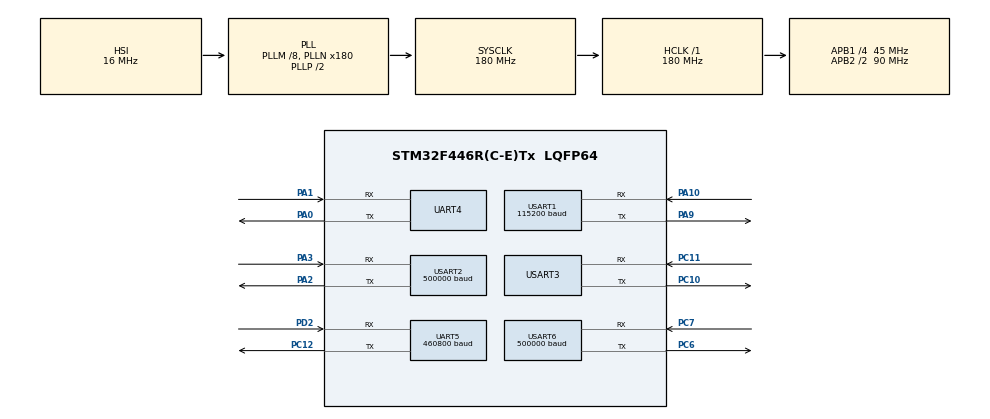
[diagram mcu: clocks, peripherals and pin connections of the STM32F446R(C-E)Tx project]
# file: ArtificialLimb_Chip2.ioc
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Dma.Request0=UART4_RX
Dma.Request1=UART5_RX
Dma.Request2=USART1_RX
Dma.Request3=USART2_TX
Dma.Request4=USART3_RX
Dma.Request5=USART6_RX
Dma.UART4_RX.0.Direction=DMA_PERIPH_TO_MEMORY
Dma.UART4_RX.0.FIFOMode=DMA_FIFOMODE_DISABLE
Dma.UART4_RX.0.Instance=DMA1_Stream2
Dma.UART4_RX.0.MemDataAlignment=DMA_MDATAALIGN_BYTE
Dma.UART4_RX.0.MemInc=DMA_MINC_ENABLE
Dma.UART4_RX.0.Mode=DMA_NORMAL
Dma.UART4_RX.0.PeriphDataAlignment=DMA_PDATAALIGN_BYTE
Dma.UART4_RX.0.PeriphInc=DMA_PINC_DISABLE
Dma.UART4_RX.0.Priority=DMA_PRIORITY_HIGH
Dma.UART5_RX.1.Direction=DMA_PERIPH_TO_MEMORY
Dma.UART5_RX.1.FIFOMode=DMA_FIFOMODE_DISABLE
Dma.UART5_RX.1.Instance=DMA1_Stream0
Dma.UART5_RX.1.MemDataAlignment=DMA_MDATAALIGN_BYTE
Dma.UART5_RX.1.MemInc=DMA_MINC_ENABLE
Dma.UART5_RX.1.Mode=DMA_NORMAL
Dma.UART5_RX.1.PeriphDataAlignment=DMA_PDATAALIGN_BYTE
Dma.UART5_RX.1.PeriphInc=DMA_PINC_DISABLE
Dma.UART5_RX.1.Priority=DMA_PRIORITY_HIGH
Dma.USART1_RX.2.Direction=DMA_PERIPH_TO_MEMORY
Dma.USART1_RX.2.FIFOMode=DMA_FIFOMODE_DISABLE
Dma.USART1_RX.2.Instance=DMA2_Stream2
Dma.USART1_RX.2.MemDataAlignment=DMA_MDATAALIGN_BYTE
Dma.USART1_RX.2.MemInc=DMA_MINC_ENABLE
Dma.USART1_RX.2.Mode=DMA_NORMAL
Dma.USART1_RX.2.PeriphDataAlignment=DMA_PDATAALIGN_BYTE
Dma.USART1_RX.2.PeriphInc=DMA_PINC_DISABLE
Dma.USART1_RX.2.Priority=DMA_PRIORITY_HIGH
Dma.USART2_TX.3.Direction=DMA_MEMORY_TO_PERIPH
Dma.USART2_TX.3.FIFOMode=DMA_FIFOMODE_DISABLE
Dma.USART2_TX.3.Instance=DMA1_Stream6
Dma.USART2_TX.3.MemDataAlignment=DMA_MDATAALIGN_BYTE
Dma.USART2_TX.3.MemInc=DMA_MINC_ENABLE
Dma.USART2_TX.3.Mode=DMA_NORMAL
Dma.USART2_TX.3.PeriphDataAlignment=DMA_PDATAALIGN_BYTE
Dma.USART2_TX.3.PeriphInc=DMA_PINC_DISABLE
Dma.USART2_TX.3.Priority=DMA_PRIORITY_HIGH
Dma.USART3_RX.4.Direction=DMA_PERIPH_TO_MEMORY
Dma.USART3_RX.4.FIFOMode=DMA_FIFOMODE_DISABLE
Dma.USART3_RX.4.Instance=DMA1_Stream1
Dma.USART3_RX.4.MemDataAlignment=DMA_MDATAALIGN_BYTE
Dma.USART3_RX.4.MemInc=DMA_MINC_ENABLE
Dma.USART3_RX.4.Mode=DMA_NORMAL
Dma.USART3_RX.4.PeriphDataAlignment=DMA_PDATAALIGN_BYTE
Dma.USART3_RX.4.PeriphInc=DMA_PINC_DISABLE
Dma.USART3_RX.4.Priority=DMA_PRIORITY_HIGH
Dma.USART6_RX.5.Direction=DMA_PERIPH_TO_MEMORY
Dma.USART6_RX.5.FIFOMode=DMA_FIFOMODE_DISABLE
Dma.USART6_RX.5.Instance=DMA2_Stream1
Dma.USART6_RX.5.MemDataAlignment=DMA_MDATAALIGN_BYTE
Dma.USART6_RX.5.MemInc=DMA_MINC_ENABLE
Dma.USART6_RX.5.Mode=DMA_NORMAL
Dma.USART6_RX.5.PeriphDataAlignment=DMA_PDATAALIGN_BYTE
Dma.USART6_RX.5.PeriphInc=DMA_PINC_DISABLE
Dma.USART6_RX.5.Priority=DMA_PRIORITY_HIGH
Mcu.Family=STM32F4
Mcu.Name=STM32F446R(C-E)Tx
Mcu.Package=LQFP64
NVIC.DMA1_Stream0_IRQn=true\:1\:0\:true\:false\:true\:false\:true\:true
NVIC.DMA1_Stream1_IRQn=true\:1\:0\:true\:false\:true\:false\:true\:true
NVIC.DMA1_Stream2_IRQn=true\:1\:0\:true\:false\:true\:false\:true\:true
NVIC.DMA1_Stream6_IRQn=true\:0\:0\:false\:false\:true\:false\:true\:true
NVIC.DMA2_Stream1_IRQn=true\:1\:0\:true\:false\:true\:false\:true\:true
NVIC.DMA2_Stream2_IRQn=true\:1\:0\:true\:false\:true\:false\:true\:true
NVIC.PriorityGroup=NVIC_PRIORITYGROUP_4
NVIC.UART4_IRQn=true\:2\:0\:true\:false\:true\:true\:true\:true
NVIC.UART5_IRQn=true\:2\:0\:true\:false\:true\:true\:true\:true
NVIC.USART1_IRQn=true\:2\:0\:true\:false\:true\:true\:true\:true
NVIC.USART2_IRQn=true\:0\:0\:false\:false\:true\:true\:true\:true
NVIC.USART3_IRQn=true\:2\:0\:true\:false\:true\:true\:true\:true
NVIC.USART6_IRQn=true\:2\:0\:true\:false\:true\:true\:true\:true
PA0-WKUP.Mode=Asynchronous
PA0-WKUP.Signal=UART4_TX
PA1.Mode=Asynchronous
PA1.Signal=UART4_RX
PA10.Mode=Asynchronous
PA10.Signal=USART1_RX
PA13.Mode=Serial_Wire
PA13.Signal=SYS_JTMS-SWDIO
PA14.Mode=Serial_Wire
PA14.Signal=SYS_JTCK-SWCLK
PA2.Mode=Asynchronous
PA2.Signal=USART2_TX
PA3.Mode=Asynchronous
PA3.Signal=USART2_RX
PA9.Mode=Asynchronous
PA9.Signal=USART1_TX
PC10.Mode=Asynchronous
PC10.Signal=USART3_TX
PC11.Mode=Asynchronous
PC11.Signal=USART3_RX
PC12.Mode=Asynchronous
PC12.Signal=UART5_TX
PC6.Mode=Asynchronous
PC6.Signal=USART6_TX
PC7.Mode=Asynchronous
PC7.Signal=USART6_RX
PD2.Mode=Asynchronous
PD2.Signal=UART5_RX
PH0-OSC_IN.Mode=HSE-External-Clock-Source
PH0-OSC_IN.Signal=RCC_OSC_IN
PH1-OSC_OUT.Mode=HSE-External-Clock-Source
PH1-OSC_OUT.Signal=RCC_OSC_OUT
ProjectManager.HeapSize=0x200
ProjectManager.StackSize=0x400
ProjectManager.TargetToolchain=STM32CubeIDE
RCC.AHBFreq_Value=180000000
RCC.APB1CLKDivider=RCC_HCLK_DIV4
RCC.APB1Freq_Value=45000000
RCC.APB1TimFreq_Value=90000000
RCC.APB2CLKDivider=RCC_HCLK_DIV2
RCC.APB2Freq_Value=90000000
RCC.APB2TimFreq_Value=180000000
RCC.CortexFreq_Value=180000000
RCC.HCLKFreq_Value=180000000
RCC.PLLM=8
RCC.PLLN=180
RCC.SYSCLKFreq_VALUE=180000000
RCC.SYSCLKSource=RCC_SYSCLKSOURCE_PLLCLK
RCC.USBFreq_Value=180000000
RCC.VCOOutputFreq_Value=360000000
UART4.VirtualMode=Asynchronous
UART5.BaudRate=460800
UART5.VirtualMode=Asynchronous
USART1.BaudRate=115200
USART1.VirtualMode=VM_ASYNC
USART2.BaudRate=500000
USART2.VirtualMode=VM_ASYNC
USART3.VirtualMode=VM_ASYNC
USART6.BaudRate=500000
USART6.VirtualMode=VM_ASYNC
board=custom

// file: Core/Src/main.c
/* USER CODE BEGIN Header */

/********************************修改说明**************************************
*修改日期:20230620	编写基本(详解见初代码)功能
*修改日期:20230621	编写发送功能与指令中断
*修改日期:20230721	足底压力接收
*修改日期:20230726	原串口中断和数据输出修改DMA版本，以减小芯片负担，原程序代码也进行了保留
*修改日期:20231015	增加距离传感器读取函数与逻辑的判断发送（未测试-已测20231016）
*修改日期:20231016	距离传感器测试，修改部分错误代码，存在问题：暂时解码错误（待解决）
*修改日期:20231223	增加拟合代码
*******************************************************************************/

/*
//                            _ooOoo_
//                           o8888888o
//                           88" . "88
//                           (| -_- |)
//                            O\ = /O
//                        ____/`---'\____
//                      .   ' \\| |// `.
//                       / \\||| : |||// \
//                     / _||||| -:- |||||- \
//                       | | \\\ - /// | |
//                     | \_| ''\---/'' | |	|
//                      \ .-\__ `-` ___/-. /
//                   ___`. .' /--.--\ `. . __
//                ."" '< `.___\_<|>_/___.' >'"".
//               | | : `- \`.;`\ _ /`;.`/ - ` : | |
//                 \ \ `-. \_ __\ /__ _/ .-` / /
//         ======`-.____`-.___\_____/___.-`____.-'======
//                            `=---='
//
//         .............................................
//                  佛祖保佑   芯片不烧   永无BUG
//          佛曰:
//                  写字楼里写字间，写字间里程序员；
//                  程序人员写程序，又拿程序换酒钱。
//                  酒醒只在网上坐，酒醉还来网下眠；
//                  酒醉酒醒日复日，网上网下年复年。
//                  但愿老死电脑间，不愿鞠躬老板前；
//                  奔驰宝马贵者趣，公交自行程序员。
//                  别人笑我忒疯癫，我笑自己命太贱；
//                  不见满街漂亮妹，哪个归得程序员？
*/

/**
  ******************************************************************************
  * @file           : main.c
  * @brief          : Main program body
  ******************************************************************************
  * @attention
  *
  * Copyright (c) 2023 STMicroelectronics.
  * All rights reserved.
  *
  * This software is licensed under terms that can be found in the LICENSE file
  * in the root directory of this software component.
  * If no LICENSE file comes with this software, it is provided AS-IS.
  *
  ******************************************************************************
  */
/* USER CODE END Header */
#include "main.h"
#include "dma.h"
#include "usart.h"
#include "gpio.h"

/* USER CODE BEGIN Includes */
#include <stdio.h>
#include <stdlib.h>
#include <stdarg.h>
#include "math.h"
#include "stm32f4xx_it.h"
/* USER CODE END Includes */

/* USER CODE BEGIN PTD */

/********************************参数声明**************************************
*参数用途:	MPU6050关节角度等信息
*修改日期:	20230620
*******************************************************************************/
struct joint Left = {
		.Hip.AngxZero = 0, //左关节数据组
		.Knee.AngxZero = 0,
		.Ankle.AngxZero = 0,
		.Hip.AngxCal = 0,
		.Knee.AngxCal = 0,
		.Ankle.AngxCal = 0,
};
struct DataUnionBuf DataLeftBufAng; //左关节数据组共同体缓存
struct DataUnionBuf DataLeftBufFoot = {
		.Point = {3,4,7,8,9,12,13,14},
};

/********************************参数声明**************************************
*参数用途:	中断数据缓存
*修改日期:	20230620
*******************************************************************************/
struct cRxBuf{
	uint8_t cRx_1;
	uint8_t cRx_2;
	uint8_t cRx_3;
	uint8_t cRx_4;
	uint8_t cRx_5;
	uint8_t cRx_6;
	uint8_t rxBuf_2[256];
	uint32_t rxBufCursor_2;
};
struct cRxBuf cRx;

/********************************参数声明**************************************
*参数用途:	主函数运行模式
*修改日期:	20230527
*******************************************************************************/
int Mode = 0;
int ModeFlag = 0;
int ModePrint = 1;
int FlagSend = 0;

/********************************参数声明**************************************
*参数用途:	拟合数据参数
*修改日期:	20230531
*******************************************************************************/
struct DataFit Normal = {
		.ploy_n = 5,
//		.ploy_n = 4,
		.Fit_Mode = 4,
		.sizenum = 0,
		.State = 0,
		.FitStart = 2,
		.Flag_Div = 0,
		.Flag_Fit = 0,
		.Flag_Send = 0,
};
//int sizenum;
//int dimension = 5;

/********************************参数声明**************************************
*参数用途:	距离传感器数据
*修改日期:	20231012
*******************************************************************************/
struct ModBus{
	uint8_t ModbusData[7];
	int ModbusCounter;
	uint16_t ModbusDataDEC;
	int ModbusFlag;
};
struct ModBus Modbus = {
	.ModbusCounter = 0,
	.ModbusFlag = 0.
};

///********************************参数声明**************************************
//*参数用途:	滤波器参数
//*修改日期:	20231129
//*******************************************************************************/
//float fc = 5.0f;     		//截止频率
//float Ts = 0.01f;    		//采样周期
//static float pi = 3.14159f; //π
//float alpha = 0;    		//滤波系数

/* USER CODE END PTD */

void SystemClock_Config(void);

int main(void)
{

  /* MCU Configuration--------------------------------------------------------*/

  /* Reset of all peripherals, Initializes the Flash interface and the Systick. */
  HAL_Init();

  /* USER CODE BEGIN Init */
  DataLeftBufAng.HexBufSumAng[0] = 0x62;
  DataLeftBufAng.HexBufSumAng[13] = 0x63;
  DataLeftBufAng.HexBufSumFoot[0] = 0x64;
  DataLeftBufAng.HexBufSumFoot[33] = 0x65;
  DataLeftBufAng.HexBufDis[0] = 0x66;
  DataLeftBufAng.HexBufDis[1] = 0x01;
  DataLeftBufAng.HexBufDis[2] = 0x67;
  /* USER CODE END Init */

  /* Configure the system clock */
  SystemClock_Config();

  /* Initialize all configured peripherals */
  MX_GPIO_Init();
  MX_DMA_Init();
  MX_UART4_Init();
  MX_UART5_Init();
  MX_USART1_UART_Init();
  MX_USART3_UART_Init();
  MX_USART2_UART_Init();
  MX_USART6_UART_Init();
  /* USER CODE BEGIN 2 */
  setvbuf(stdout, NULL, _IONBF, 0); //输出缓冲

	if(HAL_UART_Receive_IT(&huart1, &cRx.cRx_1, 1) != HAL_OK)
	{
		__HAL_UART_ENABLE_IT(&huart1, UART_IT_ERR);
		Error_Handler();
		//printf("[info]Error_huart1_IT\r\n");
	}

	if(HAL_UART_Receive_IT(&huart2, &cRx.cRx_2, 1) != HAL_OK)
	{
		__HAL_UART_ENABLE_IT(&huart2, UART_IT_ERR);
		Error_Handler();
		//printf("[info]Error_huart2_IT\r\n");
	}
//	if(HAL_UART_Receive_IT(&huart3, &cRx.cRx_3, 1) != HAL_OK)
//	{
//		__HAL_UART_ENABLE_IT(&huart3, UART_IT_ERR);
//		Error_Handler();
//		//printf("[info]Error_huart3_IT\r\n");
//	}
//	if(HAL_UART_Receive_IT(&huart4, &cRx.cRx_4, 1) != HAL_OK)
//	{
//		__HAL_UART_ENABLE_IT(&huart4, UART_IT_ERR);
//		Error_Handler();
//		//printf("[info]Error_huart4_IT\r\n");
//	}
//	if(HAL_UART_Receive_IT(&huart5, &cRx.cRx_5, 1) != HAL_OK)
//	{
//		__HAL_UART_ENABLE_IT(&huart5, UART_IT_ERR);
//		Error_Handler();
//		//printf("[info]Error_huart5_IT\r\n");
//	}
	if(HAL_UART_Receive_IT(&huart6, &cRx.cRx_6, 1) != HAL_OK)
	{
		__HAL_UART_ENABLE_IT(&huart6, UART_IT_ERR);
		Error_Handler();
		//printf("[info]Error_huart5_IT\r\n");
	}

//	// 开启串口1空闲中断
//	__HAL_UART_ENABLE_IT(&huart1, UART_IT_IDLE);
////	// 开启DMA发送通道的发送完成中断，才能实现封装发送函数里面的等待功能
////	__HAL_DMA_ENABLE_IT(&hdma_usart2_tx, DMA_IT_TC);
//	// 清除空闲标志位，防止中断误入
//	__HAL_UART_CLEAR_IDLEFLAG(&huart1);
//	// 立即就要打开DMA接收
//	// 不然DMA没有提前准备，第一次接收的数据是读取不出来的
//	HAL_UART_Receive_DMA(&huart1, p_IsToReceive1, MAX_RX_LEN);

	// 开启串口3空闲中断
	__HAL_UART_ENABLE_IT(&huart3, UART_IT_IDLE);
//	__HAL_DMA_ENABLE_IT(&hdma_usart2_tx, DMA_IT_TC);
	__HAL_UART_CLEAR_IDLEFLAG(&huart3);
	HAL_UART_Receive_DMA(&huart3, p_IsToReceive3, MAX_RX_LEN);

	// 开启串口4空闲中断
	__HAL_UART_ENABLE_IT(&huart4, UART_IT_IDLE);
//	__HAL_DMA_ENABLE_IT(&hdma_usart2_tx, DMA_IT_TC);
	__HAL_UART_CLEAR_IDLEFLAG(&huart4);
	HAL_UART_Receive_DMA(&huart4, p_IsToReceive4, MAX_RX_LEN);

	// 开启串口5空闲中断
	__HAL_UART_ENABLE_IT(&huart5, UART_IT_IDLE);
//	__HAL_DMA_ENABLE_IT(&hdma_usart2_tx, DMA_IT_TC);
	__HAL_UART_CLEAR_IDLEFLAG(&huart5);
	HAL_UART_Receive_DMA(&huart5, p_IsToReceive5, MAX_RX_LEN);

//	// 开启串口6空闲中断
//	__HAL_UART_ENABLE_IT(&huart6, UART_IT_IDLE);
////	__HAL_DMA_ENABLE_IT(&hdma_usart2_tx, DMA_IT_TC);
//	__HAL_UART_CLEAR_IDLEFLAG(&huart6);
//	HAL_UART_Receive_DMA(&huart6, p_IsToReceive6, MAX_RX_LEN);

	low_pass_filter_init();
  /* USER CODE END 2 */

  /* Infinite loop */
  /* USER CODE BEGIN WHILE */
  while (1)
  {
		if(Mode == 1)
		{
			if(ModeFlag == 1 && FlagSend == 1){
				for(int i=0;i<3;i++)
				{
					switch(i)
					{
					case 0:
						DataLeftBufAng.DataUnionBufSend.FloatBuf = Left.Hip.AngxCal;
						for(int j=0;j<4;j++)
						{
							DataLeftBufAng.HexBufSumAng[4*i+j+1] = DataLeftBufAng.DataUnionBufSend.HexBuf[j];
						}
						break;
					case 1:
						DataLeftBufAng.DataUnionBufSend.FloatBuf = Left.Knee.AngxCal;
						for(int j=0;j<4;j++)
						{
							DataLeftBufAng.HexBufSumAng[4*i+j+1] = DataLeftBufAng.DataUnionBufSend.HexBuf[j];
						}
						break;
					case 2:
						DataLeftBufAng.DataUnionBufSend.FloatBuf = Left.Ankle.AngxCal;
						for(int j=0;j<4;j++)
						{
							DataLeftBufAng.HexBufSumAng[4*i+j+1] = DataLeftBufAng.DataUnionBufSend.HexBuf[j];
						}
						break;
					default:
						break;
					}
				}
				for(int i=0;i<8;i++)
				{
					DataLeftBufFoot.DataUnionBufSend.FloatBuf = DataLeftBufFoot.Data[DataLeftBufFoot.Point[i]];
					for(int j=0;j<4;j++)
					{
						DataLeftBufFoot.HexBufSumFoot[4*i+j+1] = DataLeftBufFoot.DataUnionBufSend.HexBuf[j];
					}
				}

				DMA_USART2_Tx_Data(DataLeftBufAng.HexBufSumAng,14);

				DMA_USART2_Tx_Data(DataLeftBufFoot.HexBufSumFoot,34);

//				if(Modbus.ModbusFlag == 1){
//					DataLeftBufFoot.HexBufDis[1] = 0x02;
//					Modbus.ModbusFlag = 0;
//				}
//				else{
//					DataLeftBufFoot.HexBufDis[1] = 0x01;
//				}
//				DMA_USART2_Tx_Data(DataLeftBufFoot.HexBufDis,3);

	//			for(int i=0;i<14;i++)
	//			{
	//				HAL_UART_Transmit(&huart2,&DataLeftBufAng.HexBufSumAng[i],1,0xFFFF);
	//			}

				FlagSend = 0;

			}
			else if(ModeFlag == 0){
//				Normal.State = 1;
				ModeFlag = 1;
//				if(ModePrint == 2){
//					Mode = 2;
//				}
			}
		}
		else if(Mode == 2)
		{
//			for(int i=0;i<3;i++)
//			{
//				switch(i)
//				{
//				case 0:
//					DataLeftBufAng.DataUnionBufSend.FloatBuf = Left.Hip.AngxCal;
//					for(int j=0;j<4;j++)
//					{
//						DataLeftBufAng.HexBufSumAng[4*i+j+1] = DataLeftBufAng.DataUnionBufSend.HexBuf[j];
//					}
//					break;
//				case 1:
//					DataLeftBufAng.DataUnionBufSend.FloatBuf = Left.Knee.AngxCal;
//					for(int j=0;j<4;j++)
//					{
//						DataLeftBufAng.HexBufSumAng[4*i+j+1] = DataLeftBufAng.DataUnionBufSend.HexBuf[j];
//					}
//					break;
//				case 2:
//					DataLeftBufAng.DataUnionBufSend.FloatBuf = Left.Ankle.AngxCal;
//					for(int j=0;j<4;j++)
//					{
//						DataLeftBufAng.HexBufSumAng[4*i+j+1] = DataLeftBufAng.DataUnionBufSend.HexBuf[j];
//					}
//					break;
//				default:
//					break;
//				}
//			}
//			for(int i=0;i<8;i++)
//			{
//				DataLeftBufFoot.DataUnionBufSend.FloatBuf = DataLeftBufFoot.Data[DataLeftBufFoot.Point[i]];
//				for(int j=0;j<4;j++)
//				{
//					DataLeftBufFoot.HexBufSumFoot[4*i+j+1] = DataLeftBufFoot.DataUnionBufSend.HexBuf[j];
//				}
//			}
//
//			DMA_USART2_Tx_Data(DataLeftBufAng.HexBufSumAng,14);
//
//			DMA_USART2_Tx_Data(DataLeftBufFoot.HexBufSumFoot,34);
//
//			if(Modbus.ModbusFlag == 1){
//				DataLeftBufFoot.HexBufDis[1] = 0x02;
//				Modbus.ModbusFlag = 0;
//			}
//			else{
//				DataLeftBufFoot.HexBufDis[1] = 0x01;
//			}
//			DMA_USART2_Tx_Data(DataLeftBufFoot.HexBufDis,3);

//			for(int i=0;i<14;i++)
//			{
//				HAL_UART_Transmit(&huart2,&DataLeftBufAng.HexBufSumAng[i],1,0xFFFF);
//			}
		}
		else if(Mode == 0)
		{
			ModeFlag = 0;
			Normal.State = 0;
			while(1){
//				DMA_usart2_printf("%.2f,%.2f,%.2f,%.2f,%.2f,%.2f,%.2f,%.2f,%.2f\r\n",
//						Right.Hip.AngxCal,Right.Knee.AngxCal,Right.Ankle.AngxCal,
//						Right.Hip.AngAccx,Right.Knee.AngAccx,Right.Ankle.AngAccx,
//						Right.Hip.Accx,Right.Knee.Accx,Right.Ankle.Accx);
//				HAL_Delay(Delay);
				if(Mode != 0)break;
			}
		}

    /* USER CODE END WHILE */

    /* USER CODE BEGIN 3 */
		HAL_Delay(2);
  }
  /* USER CODE END 3 */
}

void SystemClock_Config(void)
{
  RCC_OscInitTypeDef RCC_OscInitStruct = {0};
  RCC_ClkInitTypeDef RCC_ClkInitStruct = {0};

  /** Configure the main internal regulator output voltage
  */
  __HAL_RCC_PWR_CLK_ENABLE();
  __HAL_PWR_VOLTAGESCALING_CONFIG(PWR_REGULATOR_VOLTAGE_SCALE1);

  /** Initializes the RCC Oscillators according to the specified parameters
  * in the RCC_OscInitTypeDef structure.
  */
  RCC_OscInitStruct.OscillatorType = RCC_OSCILLATORTYPE_HSI;
  RCC_OscInitStruct.HSIState = RCC_HSI_ON;
  RCC_OscInitStruct.HSICalibrationValue = RCC_HSICALIBRATION_DEFAULT;
  RCC_OscInitStruct.PLL.PLLState = RCC_PLL_ON;
  RCC_OscInitStruct.PLL.PLLSource = RCC_PLLSOURCE_HSI;
  RCC_OscInitStruct.PLL.PLLM = 8;
  RCC_OscInitStruct.PLL.PLLN = 180;
  RCC_OscInitStruct.PLL.PLLP = RCC_PLLP_DIV2;
  RCC_OscInitStruct.PLL.PLLQ = 2;
  RCC_OscInitStruct.PLL.PLLR = 2;
  if (HAL_RCC_OscConfig(&RCC_OscInitStruct) != HAL_OK)
  {
    Error_Handler();
  }

  /** Activate the Over-Drive mode
  */
  if (HAL_PWREx_EnableOverDrive() != HAL_OK)
  {
    Error_Handler();
  }

  /** Initializes the CPU, AHB and APB buses clocks
  */
  RCC_ClkInitStruct.ClockType = RCC_CLOCKTYPE_HCLK|RCC_CLOCKTYPE_SYSCLK
                              |RCC_CLOCKTYPE_PCLK1|RCC_CLOCKTYPE_PCLK2;
  RCC_ClkInitStruct.SYSCLKSource = RCC_SYSCLKSOURCE_PLLCLK;
  RCC_ClkInitStruct.AHBCLKDivider = RCC_SYSCLK_DIV1;
  RCC_ClkInitStruct.APB1CLKDivider = RCC_HCLK_DIV4;
  RCC_ClkInitStruct.APB2CLKDivider = RCC_HCLK_DIV2;

  if (HAL_RCC_ClockConfig(&RCC_ClkInitStruct, FLASH_LATENCY_5) != HAL_OK)
  {
    Error_Handler();
  }
}

/* USER CODE BEGIN 4 */

/********************************实现函数**************************************
*函数原型:	printf()
*功　　能:	输出重定向，串口2输出
*修改日期:	20230526
*******************************************************************************/
#ifdef __GNUC__
#define PUTCHAR_PROTOTYPE int __io_putchar(int ch)
#else
#define PUTCHAR_PROTOTYPE int fputc(int ch, FILE *f)
#endif
PUTCHAR_PROTOTYPE
{
	HAL_UART_Transmit(&huart1, (uint8_t *)&ch, 1, HAL_MAX_DELAY);
	return ch;
}

/********************************实现函数**************************************
*函数原型:	huart1_printf()
*功　　能:	输出重定向，串口1,2输出
*修改日期:	20230526
*******************************************************************************/
void huart1_printf(char * fmt,...)
{
    char buffer[100];
    uint16_t i=0;
    va_list arg_ptr;
    va_start(arg_ptr,fmt);
    vsnprintf(buffer,100,fmt,arg_ptr);
    while(i<99&&buffer[i])
    {
        HAL_UART_Transmit(&huart1,(uint8_t *)&buffer[i],1,0xFFFF);
        i++;
    }
    va_end(arg_ptr);
}

void huart2_printf(char * fmt,...)
{
    char buffer[100];
    uint16_t i=0;
    va_list arg_ptr;
    va_start(arg_ptr,fmt);
    vsnprintf(buffer,100,fmt,arg_ptr);
    while(i<99&&buffer[i])
    {
        HAL_UART_Transmit(&huart2,(uint8_t *)&buffer[i],1,0xFFFF);
        i++;
    }
    va_end(arg_ptr);
}

/********************************实现函数**************************************
*函数原型:	HAL_UART_RxCpltCallback(UART_HandleTypeDef *huart)
*功　　能:	串口中断
*修改日期:	20230530
 * 参数		| 介绍
 * ---------+--------------------------------------
 * huart	| 产生中断的串口
*******************************************************************************/
void HAL_UART_RxCpltCallback(UART_HandleTypeDef *huart)
{
	if(huart->Instance == USART1)
	{

//		通信测试，基于CAN电压低的版本的硬件编写
//		if(cRx.cRx_1 == '\n')
//		{
//			float operand;
//			char operator1, operator2;
//			cRx.rxBuf_1[cRx.rxBufCursor_1] = '\0';
//			if(sscanf((const char*)cRx.rxBuf_1, "%c%c%f", &operator1, &operator2, &operand) == 3)
//			{
//				if(operator1 == 'S' && operator2 == '=')
//				{
//					Mode = (int)operand;
//					//printf("[Info] Mode=%d\r\n",Mode);
//				}
//			}
//			cRx.rxBufCursor_1 = 0;
//		}
//		else
//		{
//			if(cRx.rxBufCursor_1 < 255)
//			{
//				cRx.rxBuf_1[cRx.rxBufCursor_1++] = cRx.cRx_1;
//			}
//		}

//		激光距离传感器解码初步方案（暂不行）
//		Modbus.ModbusData[Modbus.ModbusCounter] = cRx.cRx_1;
//		Modbus.ModbusCounter++;
//		if(Modbus.ModbusCounter == 6){
//			uint16_t crc = crc16_modbus(Modbus.ModbusData,5);
//			if((((crc >> 8) & 0xff) == Modbus.ModbusData[5]) && ((crc & 0xff) == Modbus.ModbusData[6])){
//				Modbus.ModbusDataDEC = (short) (Modbus.ModbusData[3] << 8) | Modbus.ModbusData[4];
//				if(Modbus.ModbusDataDEC < 20){
//					Modbus.ModbusFlag = 1;
////					DataLeftBufAng.HexBufDis[1] = 0x01;
////					DMA_USART2_Tx_Data(DataLeftBufAng.HexBufDis,3);
//				}
//				else{
//					Modbus.ModbusFlag = 0;
////					DataLeftBufAng.HexBufDis[1] = 0x02;
////					DMA_USART2_Tx_Data(DataLeftBufAng.HexBufDis,3);
//				}
//			}
//			Modbus.ModbusCounter = 0;
//		}

//		激光距离传感器解码方案2
//		DMA_USART2_Tx_Data(cRx.cRx_1,1);
		Modbus.ModbusData[Modbus.ModbusCounter] = cRx.cRx_1;
//		huart2_printf("%d",Modbus.ModbusCounter);
		if(Modbus.ModbusData[0] == 0x50 && Modbus.ModbusData[1] == 0x03){
			Modbus.ModbusCounter++;
		}
		else{
			Modbus.ModbusCounter = 0;
			Modbus.ModbusData[0] = 0x01;
			Modbus.ModbusData[1] = 0x03;
			ModbusRead();
		}

		if(Modbus.ModbusCounter == 7){
//			DMA_USART2_Tx_Data(Modbus.ModbusData,7);
			Modbus.ModbusDataDEC = (short) (Modbus.ModbusData[3] << 8) | Modbus.ModbusData[4];
//			huart2_printf("%d\n",Modbus.ModbusDataDEC);

			if(Modbus.ModbusDataDEC < 20){
				Modbus.ModbusFlag = 1;
			}
			else{
				Modbus.ModbusFlag = 0;
			}

			Modbus.ModbusCounter = 0;
			Modbus.ModbusData[0] = 0x01;
			Modbus.ModbusData[1] = 0x03;
		}

		if(HAL_UART_Receive_IT(&huart1, &cRx.cRx_1, 1) != HAL_OK)
		{
			__HAL_UART_ENABLE_IT(&huart1, UART_IT_ERR);
			Error_Handler();
//			printf("[info]Error_huart1_IT\r\n");
		}
	}

	else if(huart->Instance == USART2)
	{
		if(cRx.cRx_2 == '\n')
		{
			float operand;
			char operator1, operator2;
			cRx.rxBuf_2[cRx.rxBufCursor_2] = '\0';
			if(sscanf((const char*)cRx.rxBuf_2, "%c%c%f", &operator1, &operator2, &operand) == 3)
			{
				if(operator1 == 'S' && operator2 == '=')
				{
					Mode = (int)operand;
//					printf("[Info] Mode=%d\r\n",Mode);
				}

				switch(operator1)
				{
				case 'M':
					switch(operator2)
					{
					case 'Z':
						if(operand == 1){
							Left.Hip.AngxZero = Left.Hip.Angx;
							Left.Knee.AngxZero = Left.Knee.Angx;
							Left.Ankle.AngxZero = Left.Ankle.Angx;
							Left.WAIST.AccxZero = Left.WAIST.Angx;
						}
						else if(operand == 0){
							Left.Hip.AngxZero = 0;
							Left.Knee.AngxZero = 0;
							Left.Ankle.AngxZero = 0;
							Left.WAIST.AccxZero = 0;
						}
						break;
					case 'B':
						ModbusRead();
//						DMA_USART2_Tx_Data(DataLeftBufAng.HexBufDis,3);
						break;
					case 'P':
						ModePrint = (int)operand;
						break;
					default:
//						printf("[Info]ErrorFun\r\n");
						break;
					}
//					huart1_printf("M%c%d\n",operator2,(int)operand);
//					printf("[InfoMPU6050]");
					break;
//				case 'F':
//					switch(operator2)
//					{
//					case 'Z':
//						if(operand == 1){
//							for(int i=0;i<8;i++)
//							{
//								DataLeftBufFoot.DataZero[DataLeftBufFoot.Point[i]] = DataLeftBufFoot.Data[DataLeftBufFoot.Point[i]];
//							}
//						}
//						else if(operand == 0){
//							for(int i=0;i<8;i++)
//							{
//								DataLeftBufFoot.DataZero[DataLeftBufFoot.Point[i]] = 0;
//							}
//						}
//						break;
//					default:
//						break;
//					}
//					break;
				default:
					break;
				}
			}
			cRx.rxBufCursor_2 = 0;
		}
		else
		{
			if(cRx.rxBufCursor_2 < 255)
			{
				cRx.rxBuf_2[cRx.rxBufCursor_2++] = cRx.cRx_2;
			}
		}
		if(HAL_UART_Receive_IT(&huart2, &cRx.cRx_2, 1) != HAL_OK)
		{
			__HAL_UART_ENABLE_IT(&huart2, UART_IT_ERR);
			Error_Handler();
			//printf("[info]Error_huart2_IT\r\n");
		}
	}

	else if(huart->Instance == USART3)
	{
		MPU6050ModDataBuf(&Left.Hip,cRx.cRx_3);
		Left.Hip.AngxCal = Left.Hip.Angx;
		if(HAL_UART_Receive_IT(&huart3, &cRx.cRx_3, 1) != HAL_OK)
		{
			__HAL_UART_ENABLE_IT(&huart3, UART_IT_ERR);
			Error_Handler();
			//printf("[info]Error_huart3_IT\r\n");
		}
	}
	else if(huart->Instance == UART4)
	{
		MPU6050ModDataBuf(&Left.Knee,cRx.cRx_4);
		Left.Knee.AngxCal = Left.Knee.Angx - Left.Hip.Angx;
		if(HAL_UART_Receive_IT(&huart4, &cRx.cRx_4, 1) != HAL_OK)
		{
			__HAL_UART_ENABLE_IT(&huart4, UART_IT_ERR);
			Error_Handler();
			//printf("[info]Error_huart4_IT\r\n");
		}
	}
	else if(huart->Instance == UART5)
	{
		MPU6050ModDataBuf(&Left.Ankle,cRx.cRx_5);
		Left.Ankle.AngxCal = Left.Ankle.Angx - Left.Knee.Angx;
		if(HAL_UART_Receive_IT(&huart5, &cRx.cRx_5, 1) != HAL_OK)
		{
			__HAL_UART_ENABLE_IT(&huart5, UART_IT_ERR);
			Error_Handler();
			//printf("[info]Error_huart5_IT\r\n");
		}
	}
	else if(huart->Instance == USART6)
	{
		FootDataBuf(&DataLeftBufFoot,cRx.cRx_6);
		if(HAL_UART_Receive_IT(&huart6, &cRx.cRx_6, 1) != HAL_OK)
		{
			__HAL_UART_ENABLE_IT(&huart6, UART_IT_ERR);
			Error_Handler();
			printf("[info]Error_huart6_IT\r\n");
		}
	}
}

/********************************实现函数**************************************
*函数原型:	void MPU6050ModDataBuf(struct Data AllData, uint8_t cRx)
*功　　能:	MPU6050角度等数据读取函数，用于串口中断
*修改日期:	20230526
 * 参数		| 介绍
 * ---------+--------------------------------------
 * AllData	| 关节结构体，储存各关节数据
 * cRx		| 中断时串口读取的数据
*******************************************************************************/
void MPU6050ModDataBuf(struct Data *AllData, uint8_t cRx)
{
	  if(AllData->State.counter < 1)
	  {
		  if(cRx != 0x55)
		  {
			  AllData->State.counter = 0;
			  AllData->State.sum = 0;
		  }
		  else
		  {
			  ++AllData->State.counter;
			  AllData->State.sum += cRx;
			  AllData->Buf.rxDataAcc[AllData->State.counter] = cRx;
			  AllData->Buf.rxDataAngAcc[AllData->State.counter] = cRx;
			  AllData->Buf.rxDataAng[AllData->State.counter] = cRx;
		  }
	  }
	  else if(AllData->State.counter < 2)
	  {
		  AllData->Buf.rxDataAcc[AllData->State.counter] = cRx;
		  AllData->Buf.rxDataAngAcc[AllData->State.counter] = cRx;
		  AllData->Buf.rxDataAng[AllData->State.counter] = cRx;
		  switch(cRx)
		  {
		  case 0x51:
			  //采集加速度
			  AllData->State.Flag = 1;
			  ++AllData->State.counter;
			  AllData->State.sum += cRx;

			  //不采集加速度
//			  AllData->State.Flag = 0;
//			  AllData->State.counter = 0;
//			  AllData->State.sum = 0;
			  break;
		  case 0x52:
			  //采集角速度
			  AllData->State.Flag = 2;
			  ++AllData->State.counter;
			  AllData->State.sum += cRx;

			  //不采集角速度
//			  AllData->State.Flag = 0;
//			  AllData->State.counter = 0;
//			  AllData->State.sum = 0;
			  break;
		  case 0x53:
			  AllData->State.Flag = 3;
			  ++AllData->State.counter;
			  AllData->State.sum += cRx;
			  break;
		  default:
			  AllData->State.Flag = 0;
			  AllData->State.counter = 0;
			  AllData->State.sum = 0;
			  break;
		  }
	  }
	  else if(AllData->State.counter < 11)
	  {
		  switch (AllData->State.Flag)
		  {
		  case 1:
			  AllData->Buf.rxDataAcc[ AllData->State.counter] = cRx;
			  ++AllData->State.counter;
			  AllData->State.sum += cRx;
			  break;
		  case 2:
			  AllData->Buf.rxDataAngAcc[ AllData->State.counter] = cRx;
			  ++AllData->State.counter;
			  AllData->State.sum += cRx;
			  break;
		  case 3:
			  AllData->Buf.rxDataAng[ AllData->State.counter] = cRx;
			  ++AllData->State.counter;
			  AllData->State.sum += cRx;
			  break;
		  default:
			  AllData->State.Flag = 0;
			  AllData->State.counter = 0;
			  AllData->State.sum = 0;
			  break;
		  }
	  }
	  else if(AllData->State.counter == 11)
	  {
		  if(AllData->State.sum != cRx)
		  {
			  AllData->State.counter = 0;

		  }
		  else
		  {
			  AllData->Buf.rxDataAcc[AllData->State.counter] = cRx;
			  AllData->Buf.rxDataAngAcc[AllData->State.counter] = cRx;
			  AllData->Buf.rxDataAng[AllData->State.counter] = cRx;
		  }
		  AllData->State.counter = 0;
		  AllData->State.sum = 0;

		  switch(AllData->State.Flag)
		  {
		  case 1:
			  AllData->Buf.Accx = (AllData->Buf.rxDataAcc[3]<<8)|AllData->Buf.rxDataAcc[2];
			  AllData->Accx = (float) AllData->Buf.Accx/32768*16*g;
			  AllData->Buf.Accy = (AllData->Buf.rxDataAcc[5]<<8)|AllData->Buf.rxDataAcc[4];
			  AllData->Accy = (float) AllData->Buf.Accy/32768*16*g;
			  AllData->Buf.Accz = (AllData->Buf.rxDataAcc[7]<<8)|AllData->Buf.rxDataAcc[6];
			  AllData->Accz = (float) AllData->Buf.Accz/32768*16*g;
			  break;
		  case 2:
			  AllData->Buf.AngAccx = (AllData->Buf.rxDataAngAcc[3]<<8)|AllData->Buf.rxDataAngAcc[2];
			  AllData->AngAccx = (float) AllData->Buf.AngAccx/32768*2000;
			  AllData->Buf.AngAccy = (AllData->Buf.rxDataAngAcc[5]<<8)|AllData->Buf.rxDataAngAcc[4];
			  AllData->AngAccy = (float) AllData->Buf.AngAccy/32768*2000;
			  AllData->Buf.AngAccz = (AllData->Buf.rxDataAngAcc[7]<<8)|AllData->Buf.rxDataAngAcc[6];
			  AllData->AngAccz = (float) AllData->Buf.AngAccz/32768*2000;
			  break;
		  case 3:
			  AllData->Buf.Angx = (AllData->Buf.rxDataAng[3]<<8)|AllData->Buf.rxDataAng[2];
			  AllData->Angx = (float) AllData->Buf.Angx/32768*180;
			  AllData->Buf.Angy = (AllData->Buf.rxDataAng[5]<<8)|AllData->Buf.rxDataAng[4];
			  AllData->Angy = (float) AllData->Buf.Angy/32768*180;
			  AllData->Buf.Angz = (AllData->Buf.rxDataAng[7]<<8)|AllData->Buf.rxDataAng[6];
			  AllData->Angz = (float) AllData->Buf.Angz/32768*180;

			  AllData->Angx = AllData->Angx - AllData->AngxZero;
			  if(AllData->Angx > 180)
			  {
				  AllData->Angx = AllData->Angx - 360;
			  }
			  break;
		  default:
			  break;
		  }

		  AllData->State.Flag = 0;
	  }
}

/********************************实现函数**************************************
*函数原型:	void FootDataBuf()
*功　　能:	足底压力共同体数据
*修改日期:	20230721
 * 参数		| 介绍
 * ---------+--------------------------------------
 * AllData	| 共同体数据
 * cRx		| 中断时串口读取的数据
*******************************************************************************/
void FootDataBuf(struct DataUnionBuf *AllData, uint8_t cRx)
{
	if(AllData->FootCounter < 1)
	{
		if(cRx != 0x64)
		{
			AllData->FootCounter = 0;
		}
		else
		{
			AllData->HexBufSumFoot[AllData->FootCounter] = cRx;
			AllData->FootCounter++;
		}
	}
	else if(AllData->FootCounter < 33)
	{
		AllData->HexBufSumFoot[AllData->FootCounter] = cRx;
		AllData->FootCounter++;
	}
	else if(AllData->FootCounter == 33)
	{
		if(cRx == 0x65)
		{
			AllData->HexBufSumFoot[AllData->FootCounter] = cRx;
			for(int i=0;i<8;i++)
			{
				for(int j=0;j<4;j++)
				{
					AllData->DataUnionBufReceive.HexBuf[j] = AllData->HexBufSumFoot[4*i+j+1];
				}
				AllData->Data[AllData->Point[i]] = AllData->DataUnionBufReceive.FloatBuf;
			}
		}
		AllData->FootCounter = 0;
	}
}
/********************************实现函数**************************************
*函数原型:	void AngDataBuf()
*功　　能:	左侧角度共同体数据
*修改日期:	20230721
 * 参数		| 介绍
 * ---------+--------------------------------------
 * AllData	| 共同体数据
 * cRx		| 中断时串口读取的数据
*******************************************************************************/
void AngDataBuf(struct DataUnionBuf *AllData, uint8_t cRx)
{
	if(AllData->AngCounter < 1)
	{
		if(cRx != 0x62)
		{
			AllData->AngCounter = 0;
		}
		else
		{
			AllData->HexBufSumAng[AllData->AngCounter] = cRx;
			AllData->AngCounter++;
		}
	}
	else if(AllData->AngCounter < 13)
	{
		AllData->HexBufSumAng[AllData->AngCounter] = cRx;
		AllData->AngCounter++;
	}
	else if(AllData->AngCounter == 13)
	{
		if(cRx == 0x63)
		{
			AllData->HexBufSumAng[AllData->AngCounter] = cRx;
			for(int i=0;i<3;i++)
			{
				for(int j=0;j<4;j++)
				{
					AllData->DataUnionBufReceive.HexBuf[j] = AllData->HexBufSumAng[4*i+j+1];
				}
				switch(i)
				{
				case 0:
					Left.Hip.AngxCal = AllData->DataUnionBufReceive.FloatBuf;
					break;
				case 1:
					Left.Knee.AngxCal = AllData->DataUnionBufReceive.FloatBuf;
					break;
				case 2:
					Left.Ankle.AngxCal = AllData->DataUnionBufReceive.FloatBuf;
					break;
				default:
					break;
				}
			}
		}
		AllData->AngCounter = 0;
	}
}

/********************************实现函数**************************************
*函数原型:	float *createArray(int size)
*功　　能:	动态分配内存
*功　　能:	记得在使用完后 free(array); 否则会造成内存泄露
*修改日期:	20230809
 * 参数		| 介绍
 * ---------+--------------------------------------
 * size		| 生成数组大小
*******************************************************************************/
double *createArray(int size)
{
	double *array = (double *) malloc(size * sizeof(double));  // 动态分配内存空间

    if (array == NULL) {
        printf("Memory allocation failed.\n");
//        exit(1);  // 内存分配失败，退出程序
    }

    // 初始化数组
    for (int i = 0; i < size; i++) {
        array[i] = 0;
    }

    return array;
}

/********************************实现函数**************************************
*函数原型:	void DataDiv
*功　　能:	数据分割便于拟合
*修改日期:	20231201
 * 参数		| 介绍
 * ---------+--------------------------------------
 * Fit		| 数据储存位置
*******************************************************************************/
void DataDiv(struct DataFit *Fit){
	if(Fit->FitFlagKnee == 0){
		Fit->FitBufKnee[Fit->sizenum] = Left.Knee.AngxCal;
		if(Fit->sizenum > 3){
			if(	((Fit->FitBufKnee[Fit->sizenum]-Fit->FitBufKnee[Fit->sizenum-1])*
				(Fit->FitBufKnee[Fit->sizenum-1]-Fit->FitBufKnee[Fit->sizenum-2])<0
				&& Fit->sizenum > 20)
				|| Fit->sizenum > 70){
				Fit->FitFlagKnee = 1;
			}
		}
		Fit->sizenum++;
	}
	else if(Fit->FitFlagKnee == 1){
		//内存分配方式1
		double *arrayKnee = createArray(Fit->sizenum);
		double *arrayX = createArray(Fit->sizenum);
		double Init_x = 0;

		//内存分配方式2
//		double *arrayKnee = (double *)calloc(Fit->sizenum + 1 , sizeof(double));
//		double *arrayX = (double *)calloc(Fit->sizenum + 1 , sizeof(double));

		for(int i=0;i<Fit->sizenum;i++){
			Init_x += 0.01;
			arrayX[i] = Init_x;
			arrayKnee[i] = Fit->FitBufKnee[i];// /180*3.14
//			DMA_usart2_printf("%f\r\n",Fit->FitBufKnee[i]);
		}
//		DMA_usart2_printf("%d\r\n",Fit->sizenum);
//		int sizenum = sizeof(&arrayKnee)/ sizeof(arrayKnee[0]);
//		DMA_usart2_printf("%d\r\n",sizenum);
		polyfit(Fit->sizenum, arrayX, arrayKnee, Normal.ploy_n, Fit->PKneeS1);
		Normal.Flag_Div += 1;
		if(Normal.Flag_Div >= 5){
			Normal.Flag_Div = 1;
		}
		Calculate(Normal.ploy_n, Normal.sizenum, Fit->PKneeS1, arrayX, Normal.Flag_Div);
//		DMA_usart2_printf("%f,%f,%f,%f,%f,%f\r\n",
//				Normal.PKneeS1[0],Normal.PKneeS1[1],Normal.PKneeS1[2],Normal.PKneeS1[3],Normal.PKneeS1[4],Normal.PKneeS1[5]);
		Fit->FitFlagKnee = 0;
		Fit->sizenum = 0;
		free(arrayKnee);
		free(arrayX);
	}
}

/********************************实现函数**************************************
*函数原型:	void DataDiv_2
*功　　能:	数据分割便于拟合
*修改日期:	20231201
 * 参数		| 介绍
 * ---------+--------------------------------------
 * Fit		| 数据储存位置
*******************************************************************************/
void DataDiv_2(struct DataFit *Fit){
	if(Fit->FitFlagKnee == 0){
		Fit->FitBufKnee[Fit->sizenum] = Left.Knee.AngxCal;
		Fit->FitBufFoot_12[Fit->sizenum] = DataLeftBufFoot.Data[12];
		Fit->sizenum++;

		if(DataLeftBufFoot.Data[12] > 1600 && (Fit->Flag_Div == 4 || Fit->Flag_Div == 0)){
//			if(Fit->sizenum > 2 && Fit->FitBufFoot_12[Fit->sizenum] - Fit->FitBufFoot_12[Fit->sizenum - 1] <= 0){
//				if(Fit->Flag_Div == 4){
//					Fit->Flag_Div = 1;
//					Fit->FitFlagKnee = 1;
//				}
//				else if(Fit->Flag_Div == 0){
//					Fit->Flag_Div = 1;
//					Fit->sizenum = 0;
//				}
//			}

			if(Fit->Flag_Div == 4){
				Fit->Flag_Div = 1;
				Fit->FitFlagKnee = 1;
			}
			else if(Fit->Flag_Div == 0){
				Fit->Flag_Div = 1;
				Fit->sizenum = 0;
			}
		}

		else if(Left.Knee.AngxCal < -40 && Fit->Flag_Div == 1){
			if(Fit->sizenum > 2 && (Fit->FitBufKnee[Fit->sizenum] - Fit->FitBufKnee[Fit->sizenum - 1] > 0)){
				if(Fit->Flag_Div == 1){
					Fit->Flag_Div = 2;
					Fit->FitFlagKnee = 1;
				}
				else if(Fit->Flag_Div != 1){

				}
			}
		}

		else if(DataLeftBufFoot.Data[3] > 400 && DataLeftBufFoot.Data[4] > 400 && Fit->Flag_Div == 2){
			if(Fit->Flag_Div == 2){
				Fit->Flag_Div = 3;
				Fit->FitFlagKnee = 1;
			}
			if(Fit->Flag_Div != 2){

			}
		}

		else if(DataLeftBufFoot.Data[12] > 600 && Fit->Flag_Div == 3){
			if(Fit->Flag_Div == 3){
				Fit->Flag_Div = 4;
				Fit->FitFlagKnee = 1;
			}
			if(Fit->Flag_Div != 3){

			}
		}

		else if(Fit->sizenum > 70){
//			DMA_usart2_printf("e\r\n");
			if(Fit->Flag_Div >= 4){
				Fit->Flag_Div = 1;
			}
			else{
				Fit->Flag_Div++;
			}
			Fit->FitFlagKnee = 1;
		}
	}
	else if(Fit->FitFlagKnee == 1){
		//内存分配方式1
		double *arrayKnee = createArray(Fit->sizenum);
		double *arrayX = createArray(Fit->sizenum);
		double Init_x = 0;

		//内存分配方式2
//		double *arrayKnee = (double *)calloc(Fit->sizenum + 1 , sizeof(double));
//		double *arrayX = (double *)calloc(Fit->sizenum + 1 , sizeof(double));

		for(int i=0;i<Fit->sizenum;i++){
			Init_x += 0.01;
			arrayX[i] = Init_x;
			arrayKnee[i] = Fit->FitBufKnee[i];// /180*3.14
//			DMA_usart2_printf("%f\r\n",Fit->FitBufKnee[i]);
		}
//		DMA_usart2_printf("%d\r\n",Fit->sizenum);

//		int sizenum = sizeof(&arrayKnee)/ sizeof(arrayKnee[0]);
//		DMA_usart2_printf("%d\r\n",sizenum);

		polyfit(Fit->sizenum, arrayX, arrayKnee, Normal.ploy_n, Fit->PKneeS1);
		Normal.Flag_Send += 1;
//		if(Normal.Flag_Div >= Normal.Fit_Mode){
//			Normal.Flag_Div = 1;
//		}

		Calculate(Normal.ploy_n, Fit->sizenum, Fit->PKneeS1, arrayX, Normal.Flag_Div);
//		DMA_usart2_printf("%f,%f,%f,%f,%f,%f\r\n",
//				Normal.PKneeS1[0],Normal.PKneeS1[1],Normal.PKneeS1[2],Normal.PKneeS1[3],Normal.PKneeS1[4],Normal.PKneeS1[5]);

		Fit->FitFlagKnee = 0;
		Fit->sizenum = 0;

		for(int i=0; i<3; i++){
			switch(Normal.Flag_Div){
			case 1:
				Fit->FitBufKnee[Fit->sizenum] = Normal.FitKnee_0[Normal.FitKnee_0_num-1];
				break;
			case 2:
				Fit->FitBufKnee[Fit->sizenum] = Normal.FitKnee_1[Normal.FitKnee_1_num-1];
				break;
			case 3:
				Fit->FitBufKnee[Fit->sizenum] = Normal.FitKnee_2[Normal.FitKnee_2_num-1];
				break;
			case 4:
				Fit->FitBufKnee[Fit->sizenum] = Normal.FitKnee_3[Normal.FitKnee_3_num-1];
				break;
			default:
				break;
			}
			Fit->sizenum++;
		}

		free(arrayKnee);
		free(arrayX);
	}
}

/********************************实现函数**************************************
*函数原型:	void polyfit(n,x,y,poly_n,a)
*功　　能:	拟合y=a0+a1*x+a2*x^2+……+apoly_n*x^poly_n
*修改日期:	20230526
 * 参数		| 介绍
 * ---------+--------------------------------------
 * n		| 数据个数
 * x		| 自变量
 * y		| 因变量
 * poly_n	| 多项式项数
 * p		| 系数
*******************************************************************************/
void polyfit(int n,double x[],double y[],int poly_n,double p[])
{
	int i,j;
	double *tempx,*tempy,*sumxx,*sumxy,*ata;

	tempx = (double *)calloc(n , sizeof(double));
	sumxx = (double *)calloc((poly_n*2+1) , sizeof(double));
	tempy = (double *)calloc(n , sizeof(double));
	sumxy = (double *)calloc((poly_n+1) , sizeof(double));
	ata = (double *)calloc( (poly_n+1)*(poly_n+1) , sizeof(double) );
	for (i=0;i<n;i++)
	{
		tempx[i]=1;
		tempy[i]=y[i];
	}
	for (i=0;i<2*poly_n+1;i++)
	{
		for (sumxx[i]=0,j=0;j<n;j++)
		{
			sumxx[i]+=tempx[j];
			tempx[j]*=x[j];
		}
	}

	for (i=0;i<poly_n+1;i++)
	{
		for (sumxy[i]=0,j=0;j<n;j++)
		{
			sumxy[i]+=tempy[j];
			tempy[j]*=x[j];
		}
	}

	for (i=0;i<poly_n+1;i++)
	{
		for (j=0;j<poly_n+1;j++)
		{
			ata[i*(poly_n+1)+j]=sumxx[i+j];
		}
	}
	gauss_solve(poly_n+1,ata,p,sumxy);

	free(tempx);
	free(sumxx);
	free(tempy);
	free(sumxy);
	free(ata);
}

/********************************实现函数**************************************
*函数原型:	void gauss_solve(int n,double A[],double x[],double b[])
*功　　能:	高斯消元法计算得到 n 次多项式的系数
*修改日期:	20230526
 * 参数		| 介绍
 * ---------+--------------------------------------
 * n		| 系数个数
 * A		| 线性矩阵
 * x		| 拟合结果
 * b		| 线性方程组的y值
*******************************************************************************/
void gauss_solve(int n,double A[],double x[],double b[])
{
	int i,j,k,r;
	double max;
	for (k=0;k<n-1;k++)
	{
		max=fabs(A[k*n+k]);					// find maxmum
		r=k;
		for (i=k+1;i<n-1;i++)
		{
			if (max<fabs(A[i*n+i]))
			{
				max=fabs(A[i*n+i]);
				r=i;
			}
		}
		if (r!=k)
		{
			for (i=0;i<n;i++)		//change array:A[k]&A[r]
			{
				max=A[k*n+i];
				A[k*n+i]=A[r*n+i];
				A[r*n+i]=max;
			}

			max=b[k];                    //change array:b[k]&b[r]
			b[k]=b[r];
			b[r]=max;
		}

		for (i=k+1;i<n;i++)
		{
			for (j=k+1;j<n;j++)
				A[i*n+j]-=A[i*n+k]*A[k*n+j]/A[k*n+k];
			b[i]-=A[i*n+k]*b[k]/A[k*n+k];
		}
	}

	for (i=n-1;i>=0;x[i]/=A[i*n+i],i--)
	{
		for (j=i+1,x[i]=b[i];j<n;j++)
			x[i]-=A[i*n+j]*x[j];
	}
}

/********************************实现函数**************************************
*函数原型:	void Calculate(int poly_n, int n, double p[], double x[], int Flag)
*功　　能:	计算拟合函数值
*修改日期:	20231207
 * 参数		| 介绍
 * ---------+--------------------------------------
 * 无		| 无
*******************************************************************************/
void Calculate(int poly_n, int n, double p[], double x[], int Flag){
	double *q = createArray(poly_n);
	Slop(poly_n, p, q);
	switch (Flag){
	case 1:
		Normal.FitKnee_0_num = n;
		for(int i=0; i<n; i++){
			Normal.FitKnee_0[i] = Horner_Algorithm(poly_n,p,x[i]);
			Normal.FitKneeT_0[i] = Horner_Algorithm(poly_n-1,q,x[i]);
//			DMA_usart2_printf("%f\r\n",Normal.FitKnee_0[i]);
		}
		break;
	case 2:
		Normal.FitKnee_1_num = n;
		for(int i=0; i<n; i++){
			Normal.FitKnee_1[i] = Horner_Algorithm(poly_n,p,x[i]);
			Normal.FitKneeT_1[i] = Horner_Algorithm(poly_n-1,q,x[i]);
//			DMA_usart2_printf("%f\r\n",Normal.FitKnee_1[i]);
		}
		break;
	case 3:
		Normal.FitKnee_2_num = n;
		for(int i=0; i<n; i++){
			Normal.FitKnee_2[i] = Horner_Algorithm(poly_n,p,x[i]);
			Normal.FitKneeT_2[i] = Horner_Algorithm(poly_n-1,q,x[i]);
			DMA_usart2_printf("%f\r\n",Normal.FitKnee_2[i]);
		}
		break;
	case 4:
		Normal.FitKnee_3_num = n;
		for(int i=0; i<n; i++){
			Normal.FitKnee_3[i] = Horner_Algorithm(poly_n,p,x[i]);
			Normal.FitKneeT_3[i] = Horner_Algorithm(poly_n-1,q,x[i]);
//			DMA_usart2_printf("%f\r\n",Normal.FitKnee_3[i]);
		}
		break;
	default:
		break;
	}
//	DMA_usart2_printf("%d\r\n",Flag);
	free(q);
}

/********************************实现函数**************************************
*函数原型:	double Horner_Algorithm(int poly_n, double p[], double x)
*功　　能:	秦九韶算法
*修改日期:	20231207
 * 参数		| 介绍
 * ---------+--------------------------------------
 * 无		| 无
*******************************************************************************/
double Horner_Algorithm(int poly_n, double p[], double x){
	double y = 0.0;	//存放多项式的值
	for (int j = poly_n; j>=0; j--)
	{
		y = (x * y) + p[j];	//计算多项式的值。
	}
	return y;
}

/********************************实现函数**************************************
*函数原型:	double Slop(int poly_n, double p[], double x)
*功　　能:	计算斜率多项式
*修改日期:	20231208
 * 参数		| 介绍
 * ---------+--------------------------------------
 * 无		| 无
*******************************************************************************/
void Slop(int poly_n, double p[], double q[]){
	for(int i = 1; i<poly_n+1; i++){
		q[i-1] = i*p[i];
	}
}

/********************************实现函数**************************************
*函数原型:	void ModbusRead()
*功　　能:	读取距离传感器数值
*修改日期:	20231010
 * 参数		| 介绍
 * ---------+--------------------------------------
 * 无		| 无
*******************************************************************************/
void ModbusRead(){
	uint8_t ModbusData[] = {0x50,0x03,0x00,0x34,0x00,0x01,0xc8,0x45};
	for(int i = 0;i<8;i++){
		HAL_UART_Transmit(&huart1,(uint8_t *)&ModbusData[i],1,0xFFFF);
	}
}

/********************************实现函数**************************************
*函数原型:	void ModbusRead()
*功　　能:	计算ModbusCRC校验值
*修改日期:	20231012
 * 参数		| 介绍
 * ---------+--------------------------------------
 * 无		| 无
*******************************************************************************/
uint16_t crc16_modbus(uint8_t *data, uint16_t length) {
    uint16_t crc = 0xFFFF;
    uint16_t i, j;
    for (i = 0; i < length; i++) {
        crc ^= data[i];
        for (j = 0; j < 8; j++) {
            if (crc & 0x0001) {
                crc >>= 1;
                crc ^= 0xA001;
            } else {
                crc >>= 1;
            }
        }
    }
    return crc;
}

///********************************实现函数**************************************
//*函数原型:	low_pass_filter_init()
//*功　　能:	滤波器初始化
//*修改日期:	20231129
// * 参数		| 介绍
// * ---------+--------------------------------------
// * 无		| 无
//*******************************************************************************/
//void low_pass_filter_init(void){
//    float b = 2.0 * pi * fc * Ts;
//    alpha = b / (b + 1);
//}
//
///********************************实现函数**************************************
//*函数原型:	low_pass_filter()
//*功　　能:	滤波器
//*修改日期:	20231129
// * 参数		| 介绍
// * ---------+--------------------------------------
//* value		| 值
//*******************************************************************************/
//float low_pass_filter(float value){
//    static float out_last = 0; //上一次滤波值
//    float out;
//
//  /***************** 如果第一次进入，则给 out_last 赋值 ******************/
//    static char fisrt_flag = 1;
//    if (fisrt_flag == 1){
//        fisrt_flag = 0;
//        out_last = value;
//    }
//
//  /*************************** 一阶滤波 *********************************/
//    out = out_last + alpha * (value - out_last);
//    out_last = out;
//
//    return out;
//}

/* USER CODE END 4 */

void Error_Handler(void)
{
  __disable_irq();
  while (1)
  {
  }
}
